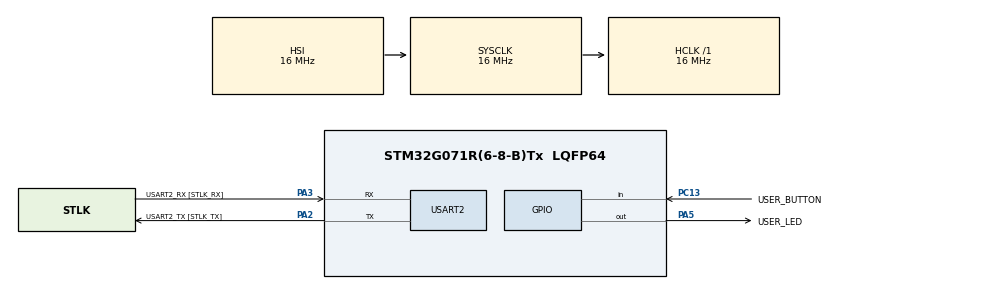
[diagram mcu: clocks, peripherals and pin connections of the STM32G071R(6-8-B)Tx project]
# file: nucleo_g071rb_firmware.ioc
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Mcu.Family=STM32G0
Mcu.Name=STM32G071R(6-8-B)Tx
Mcu.Package=LQFP64
PA13.GPIO_Label=TMS
PA13.Mode=Serial_Wire
PA13.Signal=SYS_SWDIO
PA14-BOOT0.GPIO_Label=TCK
PA14-BOOT0.Mode=Serial_Wire
PA14-BOOT0.Signal=SYS_SWCLK
PA2.GPIO_Label=USART2_TX [STLK_TX]
PA2.GPIO_PuPd=GPIO_PULLUP
PA2.Mode=Asynchronous
PA2.Signal=USART2_TX
PA3.GPIO_Label=USART2_RX [STLK_RX]
PA3.GPIO_PuPd=GPIO_PULLUP
PA3.Mode=Asynchronous
PA3.Signal=USART2_RX
PA5.GPIO_Label=USER_LED
PA5.GPIO_Speed=GPIO_SPEED_FREQ_HIGH
PA5.Signal=GPIO_Output
PC13.GPIO_Label=USER_BUTTON
PC13.Signal=GPIO_Input
PC14-OSC32_IN\ (PC14).Mode=LSE-External-Oscillator
PC14-OSC32_IN\ (PC14).Signal=RCC_OSC32_IN
PC15-OSC32_OUT\ (PC15).Mode=LSE-External-Oscillator
PC15-OSC32_OUT\ (PC15).Signal=RCC_OSC32_OUT
PF0-OSC_IN\ (PF0).GPIO_Label=MCO
PF0-OSC_IN\ (PF0).Mode=HSE-External-Clock-Source
PF0-OSC_IN\ (PF0).Signal=RCC_OSC_IN
ProjectManager.HeapSize=0x200
ProjectManager.StackSize=0x400
ProjectManager.TargetToolchain=CMake
RCC.AHBFreq_Value=16000000
RCC.CortexFreq_Value=16000000
RCC.EXTERNAL_CLOCK_VALUE=12288000
RCC.HCLKFreq_Value=16000000
RCC.HSE_VALUE=8000000
RCC.HSI_VALUE=16000000
RCC.SYSCLKFreq_VALUE=16000000
RCC.VCOOutputFreq_Value=128000000
USART2.VirtualMode-Asynchronous=VM_ASYNC
board=NUCLEO-G071RB

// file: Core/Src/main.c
/* USER CODE BEGIN Header */
/**
  ******************************************************************************
  * @file           : main.c
  * @brief          : Main program body
  ******************************************************************************
  * @attention
  *
  * Copyright (c) 2026 STMicroelectronics.
  * All rights reserved.
  *
  * This software is licensed under terms that can be found in the LICENSE file
  * in the root directory of this software component.
  * If no LICENSE file comes with this software, it is provided AS-IS.
  *
  ******************************************************************************
  */
/* USER CODE END Header */
#include "main.h"

/* USER CODE BEGIN Includes */
#include "button.h"

/* USER CODE END Includes */

UART_HandleTypeDef huart2;

/* USER CODE BEGIN PV */
static Button user_button;
static ButtonEvent user_button_event;

static const GpioPin user_button_pin = {
  .port = USER_BUTTON_GPIO_Port,
  .pin = USER_BUTTON_Pin
};

static const GpioPin user_led_pin = {
  .port = USER_LED_GPIO_Port,
  .pin = USER_LED_Pin
};

/* USER CODE END PV */

void SystemClock_Config(void);
static void MX_GPIO_Init(void);
static void MX_USART2_UART_Init(void);

int main(void)
{

  /* MCU Configuration--------------------------------------------------------*/

  /* Reset of all peripherals, Initializes the Flash interface and the Systick. */
  HAL_Init();

  /* Configure the system clock */
  SystemClock_Config();

  /* Initialize all configured peripherals */
  MX_GPIO_Init();
  MX_USART2_UART_Init();
  /* USER CODE BEGIN 2 */
  if (!button_initialize(&user_button,
                         user_button_pin,
                         GPIO_DRIVER_LEVEL_LOW,
                         25U,
                         HAL_GetTick()))
  {
    Error_Handler();
  }

  /* USER CODE END 2 */

  /* Infinite loop */
  while (1)
  {

    /* USER CODE BEGIN 3 */
    if (!button_update(&user_button, HAL_GetTick(), &user_button_event))
    {
      Error_Handler();
    }

    if (user_button_event == BUTTON_EVENT_PRESSED)
    {
      if (!gpio_toggle(user_led_pin))
      {
        Error_Handler();
      }
    }
  }
  /* USER CODE END 3 */
}

void SystemClock_Config(void)
{
  RCC_OscInitTypeDef RCC_OscInitStruct = {0};
  RCC_ClkInitTypeDef RCC_ClkInitStruct = {0};

  /** Configure the main internal regulator output voltage
  */
  HAL_PWREx_ControlVoltageScaling(PWR_REGULATOR_VOLTAGE_SCALE1);

  /** Initializes the RCC Oscillators according to the specified parameters
  * in the RCC_OscInitTypeDef structure.
  */
  RCC_OscInitStruct.OscillatorType = RCC_OSCILLATORTYPE_HSI;
  RCC_OscInitStruct.HSIState = RCC_HSI_ON;
  RCC_OscInitStruct.HSIDiv = RCC_HSI_DIV1;
  RCC_OscInitStruct.HSICalibrationValue = RCC_HSICALIBRATION_DEFAULT;
  RCC_OscInitStruct.PLL.PLLState = RCC_PLL_NONE;
  if (HAL_RCC_OscConfig(&RCC_OscInitStruct) != HAL_OK)
  {
    Error_Handler();
  }

  /** Initializes the CPU, AHB and APB buses clocks
  */
  RCC_ClkInitStruct.ClockType = RCC_CLOCKTYPE_HCLK|RCC_CLOCKTYPE_SYSCLK
                              |RCC_CLOCKTYPE_PCLK1;
  RCC_ClkInitStruct.SYSCLKSource = RCC_SYSCLKSOURCE_HSI;
  RCC_ClkInitStruct.AHBCLKDivider = RCC_SYSCLK_DIV1;
  RCC_ClkInitStruct.APB1CLKDivider = RCC_HCLK_DIV1;

  if (HAL_RCC_ClockConfig(&RCC_ClkInitStruct, FLASH_LATENCY_0) != HAL_OK)
  {
    Error_Handler();
  }
}

static void MX_USART2_UART_Init(void)
{

  huart2.Instance = USART2;
  huart2.Init.BaudRate = 115200;
  huart2.Init.WordLength = UART_WORDLENGTH_8B;
  huart2.Init.StopBits = UART_STOPBITS_1;
  huart2.Init.Parity = UART_PARITY_NONE;
  huart2.Init.Mode = UART_MODE_TX_RX;
  huart2.Init.HwFlowCtl = UART_HWCONTROL_NONE;
  huart2.Init.OverSampling = UART_OVERSAMPLING_16;
  huart2.Init.OneBitSampling = UART_ONE_BIT_SAMPLE_DISABLE;
  huart2.Init.ClockPrescaler = UART_PRESCALER_DIV1;
  huart2.AdvancedInit.AdvFeatureInit = UART_ADVFEATURE_NO_INIT;
  if (HAL_UART_Init(&huart2) != HAL_OK)
  {
    Error_Handler();
  }
  if (HAL_UARTEx_SetTxFifoThreshold(&huart2, UART_TXFIFO_THRESHOLD_1_8) != HAL_OK)
  {
    Error_Handler();
  }
  if (HAL_UARTEx_SetRxFifoThreshold(&huart2, UART_RXFIFO_THRESHOLD_1_8) != HAL_OK)
  {
    Error_Handler();
  }
  if (HAL_UARTEx_DisableFifoMode(&huart2) != HAL_OK)
  {
    Error_Handler();
  }

}

static void MX_GPIO_Init(void)
{
  GPIO_InitTypeDef GPIO_InitStruct = {0};

  /* GPIO Ports Clock Enable */
  __HAL_RCC_GPIOC_CLK_ENABLE();
  __HAL_RCC_GPIOF_CLK_ENABLE();
  __HAL_RCC_GPIOA_CLK_ENABLE();

  /*Configure GPIO pin Output Level */
  HAL_GPIO_WritePin(USER_LED_GPIO_Port, USER_LED_Pin, GPIO_PIN_RESET);

  /*Configure GPIO pin : USER_BUTTON_Pin */
  GPIO_InitStruct.Pin = USER_BUTTON_Pin;
  GPIO_InitStruct.Mode = GPIO_MODE_INPUT;
  GPIO_InitStruct.Pull = GPIO_NOPULL;
  HAL_GPIO_Init(USER_BUTTON_GPIO_Port, &GPIO_InitStruct);

  /*Configure GPIO pin : USER_LED_Pin */
  GPIO_InitStruct.Pin = USER_LED_Pin;
  GPIO_InitStruct.Mode = GPIO_MODE_OUTPUT_PP;
  GPIO_InitStruct.Pull = GPIO_NOPULL;
  GPIO_InitStruct.Speed = GPIO_SPEED_FREQ_HIGH;
  HAL_GPIO_Init(USER_LED_GPIO_Port, &GPIO_InitStruct);

}

void Error_Handler(void)
{
  __disable_irq();
  while (1)
  {
  }
}
